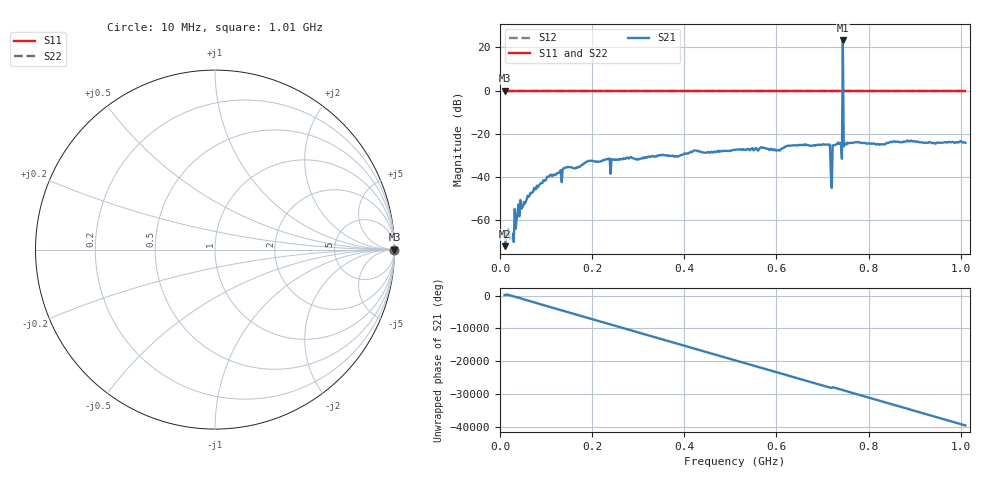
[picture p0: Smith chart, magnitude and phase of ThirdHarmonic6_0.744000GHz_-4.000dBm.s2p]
! 8/16/2025 12:53:11 AM
! C:\ANRITSUVNA\TEMP\TEMP.S2P
! CHANNEL.1
! TR.MEASUREMENT
! RAW.DATA
! RF.CORRECTION.OFF
! AVERAGING.OFF
! IF.BANDWIDTH: 5KHZ
! SWEEPTYPE:  FREQ.SWEEP(Linear)
! Reference Plane Port Info
! PORT:  PORT1  PORT2
! DISTANCE:  0  m  0  m
! TIME:  0  s  0  s
! PHASE.OFFSET:  0  deg.  0  deg.
! LOSS:  0  dB  0  dB
! REF.LOSS:  0  dB  0  dB
! REF.FREQ:  0  Hz  0  Hz
! Power Info
! POWER:  -20  dBm  -20  dBm
! EFF.POWER:  -20  dBm  -20  dBm
! SOURCE.ATTEN:  0  dB  0  dB
! TEST.ATTEN:  0  dB  0  dB
# GHZ S RI R 50.0
! FREQ.GHZ  S11RE  S11IM  S21RE  S21IM  S12RE  S12IM  S22RE  S22IM
!; PortSelection: Port_12
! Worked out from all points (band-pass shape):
!   501 points, 10 MHz to 1.01 GHz, reference 50 ohm
!   highest |S21| = 23.16 dB at 744 MHz (marker M1); lowest = -71.9 dB at 10 MHz (marker M2)
!   |S21| within 3 dB of the highest: 743.8903 MHz to 744.1224 MHz (232.2 kHz wide, 0.0312 % of centre)
!   lowest |S11| = 0.0 dB at 10 MHz (marker M3)
!   |S11| at or under -10 dB: nowhere
!   |S22| runs from 0.0 to 0.0 dB; largest |S21 - S12| = 15
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0.01  1 0  -0.000174 0.000185  1 0  1 0
0.016  1 0  0.000171 -0.000419  1 0  1 0
0.026  1 0  -0.000412 3.15e-05  1 0  1 0
0.036  1 0  -0.00106 -0.000122  1 0  1 0
0.042  1 0  0.000915 -0.000837  1 0  1 0
0.076  1 0  0.0052 5.75e-05  1 0  1 0
0.14  1 0  0.00397 -0.0157  1 0  1 0
0.178  1 0  -0.0188 -0.0049  1 0  1 0
0.344  1 0  0.0307 -0.0068  1 0  1 0
0.51  1 0  -0.0398 0.0148  1 0  1 0
0.678  1 0  -0.0233 -0.047  1 0  1 0
0.712  1 0  0.0393 -0.0402  1 0  1 0
0.716  1 0  -0.0496 0.026  1 0  1 0
0.722  1 0  0.00362 -0.0544  1 0  1 0
0.726  1 0  -0.0222 0.0499  1 0  1 0
0.738  1 0  0.0589 -0.00975  1 0  1 0
0.74  1 0  -0.00115 -0.0617  1 0  1 0
0.744  1 0  -14.38 0.5503  1 0  1 0
0.748  1 0  0.0323 -0.0518  1 0  1 0
0.75  1 0  -0.042 -0.0383  1 0  1 0
0.844  1 0  0.0433 0.0453  1 0  1 0
1.01  1 0  -0.0598 -0.0172  1 0  1 0
